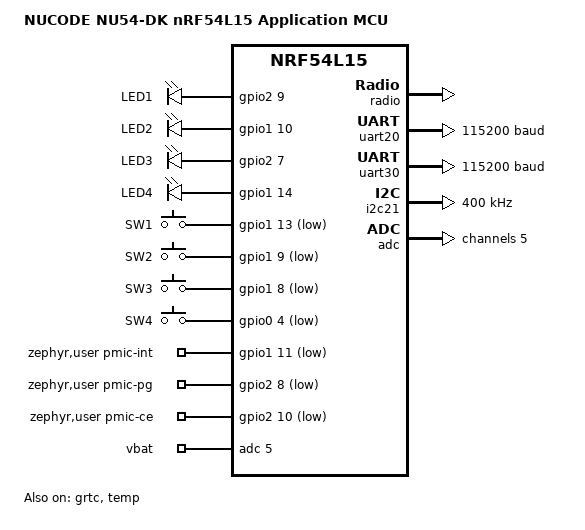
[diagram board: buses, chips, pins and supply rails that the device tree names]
/*
 * NU54-DK (NUCODE) - nRF54L15 Application core
 * 회로도: hardware/NU54_DK_2026-07-13T15_16_09_UTC_SCH.pdf (Variant NU-54DK-C)
 */

/dts-v1/;

#include <nordic/nrf54l15_cpuapp.dtsi>
#include <zephyr/dt-bindings/adc/adc.h>
#include <zephyr/dt-bindings/adc/nrf-saadc.h>
#include <zephyr/dt-bindings/input/input-event-codes.h>
#include "nu54v_dk-pinctrl.dtsi"

/ {
	compatible = "nucode,nu54v_dk-nrf54l15-cpuapp";
	model = "NUCODE NU54-DK nRF54L15 Application MCU";

	chosen {
		zephyr,console = &uart20;
		zephyr,shell-uart = &uart20;
		zephyr,uart-mcumgr = &uart20;
		zephyr,sram = &cpuapp_sram;
		zephyr,flash = &cpuapp_rram;
		zephyr,flash-controller = &rram_controller;
		zephyr,code-partition = &slot0_partition;
	};

	/* LED1~4 : LEDx → NC7WZ17 버퍼 → NPN(EMH60) → LED, High = ON */
	leds {
		compatible = "gpio-leds";

		led0: led_0 {
			gpios = <&gpio2 9 GPIO_ACTIVE_HIGH>;
			label = "LED1";
		};

		led1: led_1 {
			gpios = <&gpio1 10 GPIO_ACTIVE_HIGH>;
			label = "LED2";
		};

		led2: led_2 {
			gpios = <&gpio2 7 GPIO_ACTIVE_HIGH>;
			label = "LED3";
		};

		led3: led_3 {
			gpios = <&gpio1 14 GPIO_ACTIVE_HIGH>;
			label = "LED4";
		};
	};

	/* SW1~4 : 스위치 → GND, 외부 풀업 없음 → 내부 풀업 사용, Low = 눌림 */
	buttons {
		compatible = "gpio-keys";

		button0: button_0 {
			gpios = <&gpio1 13 (GPIO_PULL_UP | GPIO_ACTIVE_LOW)>;
			label = "SW1";
			zephyr,code = <INPUT_KEY_0>;
		};

		button1: button_1 {
			gpios = <&gpio1 9 (GPIO_PULL_UP | GPIO_ACTIVE_LOW)>;
			label = "SW2";
			zephyr,code = <INPUT_KEY_1>;
		};

		button2: button_2 {
			gpios = <&gpio1 8 (GPIO_PULL_UP | GPIO_ACTIVE_LOW)>;
			label = "SW3";
			zephyr,code = <INPUT_KEY_2>;
		};

		button3: button_3 {
			gpios = <&gpio0 4 (GPIO_PULL_UP | GPIO_ACTIVE_LOW)>;
			label = "SW4";
			zephyr,code = <INPUT_KEY_3>;
		};
	};

	/*
	 * ADC 채널 (프로젝트 overlay 에서 &adc 를 okay 로 켠다)
	 *   VBAT : P1.12 (AIN5), VBAT ─ R8 470K ─┬─ 핀, └─ R11 1M ─ GND
	 *          분압비 1M/(470K+1M) = 0.680 → 배터리 전압 = 읽은 값 × 1.470
	 */
	zephyr,user {
		io-channels = <&adc 5>;
		io-channel-names = "vbat";

		/*
		 * PMIC (BQ25186) 신호. 모두 솔더 브리지로 연결되어 있다.
		 *   INT : /INT  open drain, 10K 풀업 (SB1)
		 *   PG  : /PG   입력 전원 있음 (SB2)
		 *   CE  : /CE   충전 허용. R10 10K 풀다운 → 띄워 두면 충전 허용 (SB3)
		 */
		pmic-int-gpios = <&gpio1 11 (GPIO_ACTIVE_LOW | GPIO_PULL_UP)>;
		pmic-pg-gpios  = <&gpio2 8 GPIO_ACTIVE_LOW>;
		pmic-ce-gpios  = <&gpio2 10 GPIO_ACTIVE_LOW>;
	};

	aliases {
		led0 = &led0;
		led1 = &led1;
		led2 = &led2;
		led3 = &led3;
		sw0 = &button0;
		sw1 = &button1;
		sw2 = &button2;
		sw3 = &button3;
		mcuboot-led0 = &led0;
		mcuboot-button0 = &button0;
		watchdog0 = &wdt31;
	};
};

&cpuapp_sram {
	status = "okay";
};

/* 32.768kHz 크리스탈 Y1 : P1.00/P1.01 (SB18/SB19), 외부 부하 커패시터 C1/C2 13pF */
&lfxo {
	load-capacitors = "external";
};

/* 32MHz HFXO 는 모듈(NCRB54N01VC) 내부 - nRF54L15 DK 기본값 사용 */
&hfxo {
	load-capacitors = "internal";
	load-capacitance-femtofarad = <15000>;
};

/*
 * 전원: 모듈 내부 DC/DC 인덕터 실장 여부 미확인 → 기본(LDO) 모드 유지.
 * 확인 후 DC/DC 사용 시:
 *   &regulators { status = "okay"; };
 *   &vregmain { status = "okay"; regulator-initial-mode = <NRF5X_REG_MODE_DCDC>; };
 */

&grtc {
	owned-channels = <0 1 2 3 4 5 6 7 8 9 10 11>;
	/* Channels 7-11 reserved for Zero Latency IRQs, 3-4 for FLPR */
	child-owned-channels = <3 4 7 8 9 10 11>;
	status = "okay";
};

&clock {
	status = "okay";
};

/*
 * 버튼 핀은 GPIO SENSE 로 엣지 검출 (GPIOTE IN 채널 대신) → 대기 전류가 거의 없고 System OFF 깨우기에도 쓴다.
 *   gpio0 : P0.04 (SW4)
 *   gpio1 : P1.08 (SW3), P1.09 (SW2), P1.13 (SW1)
 */
&gpio0 {
	status = "okay";
	sense-edge-mask = <(BIT(4))>;
};

&gpio1 {
	status = "okay";
	sense-edge-mask = <(BIT(8) | BIT(9) | BIT(13))>;
};

&gpio2 {
	status = "okay";
};

&gpiote20 {
	status = "okay";
};

&gpiote30 {
	status = "okay";
};

&radio {
	status = "okay";
};

&temp {
	status = "okay";
};

/* VCOM1 - 콘솔 */
&uart20 {
	status = "okay";
	current-speed = <115200>;
	pinctrl-0 = <&uart20_default>;
	pinctrl-1 = <&uart20_sleep>;
	pinctrl-names = "default", "sleep";
	/* CONFIG_PM_DEVICE_RUNTIME=y 일 때 사용하지 않는 동안 자동 suspend (저전력) */
	zephyr,pm-device-runtime-auto;
};

/* VCOM0 - 필요 시 오버레이에서 status = "okay" */
&uart30 {
	current-speed = <115200>;
	pinctrl-0 = <&uart30_default>;
	pinctrl-1 = <&uart30_sleep>;
	pinctrl-names = "default", "sleep";
	/* CONFIG_PM_DEVICE_RUNTIME=y 일 때 사용하지 않는 동안 자동 suspend (저전력) */
	zephyr,pm-device-runtime-auto;
};

/* Qwiic(J5) + PMIC(BQ25186, 0x6A) - I2C 예제에서 status = "okay" */
&i2c21 {
	clock-frequency = <I2C_BITRATE_FAST>;
	pinctrl-0 = <&i2c21_default>;
	pinctrl-1 = <&i2c21_sleep>;
	pinctrl-names = "default", "sleep";
	/* CONFIG_PM_DEVICE_RUNTIME=y 일 때 사용하지 않는 동안 자동 suspend (저전력) */
	zephyr,pm-device-runtime-auto;
};

/*
 * SAADC. 분압기 출력 임피던스가 320 kΩ (470K ‖ 1M) 이라 기본 획득시간(10 us)으로는
 * 값이 낮고 흔들린다 → 40 us + 하드웨어 오버샘플링 16회.
 * 입력 최대 4.2 V × 0.68 = 2.86 V, gain 1/4 + 내부기준 0.9 V → 풀스케일 3.6 V.
 */
&adc {
	#address-cells = <1>;
	#size-cells = <0>;

	channel@5 {
		reg = <5>;
		zephyr,gain = "ADC_GAIN_1_4";
		zephyr,reference = "ADC_REF_INTERNAL";
		zephyr,acquisition-time = <ADC_ACQ_TIME(ADC_ACQ_TIME_MICROSECONDS, 40)>;
		zephyr,input-positive = <NRF_SAADC_AIN5>;
		zephyr,resolution = <12>;
		zephyr,oversampling = <4>;
	};
};

/* 메모리맵: docs/01_memory_map.md */
#include <vendor/nordic/nrf54l15_cpuapp_partition.dtsi>
